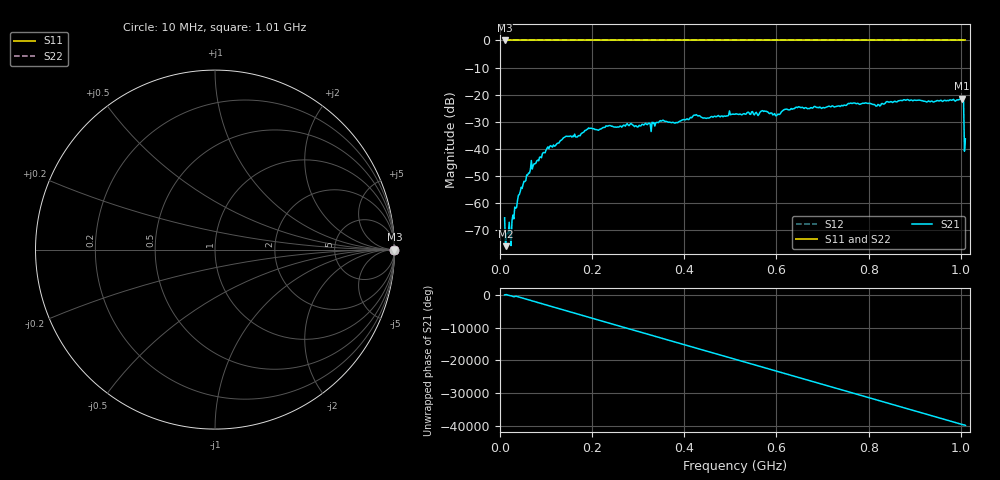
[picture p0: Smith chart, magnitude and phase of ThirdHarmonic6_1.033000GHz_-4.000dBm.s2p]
! 8/16/2025 8:50:51 AM
! C:\ANRITSUVNA\TEMP\TEMP.S2P
! CHANNEL.1
! TR.MEASUREMENT
! RAW.DATA
! RF.CORRECTION.OFF
! AVERAGING.OFF
! IF.BANDWIDTH: 5KHZ
! SWEEPTYPE:  FREQ.SWEEP(Linear)
! Reference Plane Port Info
! PORT:  PORT1  PORT2
! DISTANCE:  0  m  0  m
! TIME:  0  s  0  s
! PHASE.OFFSET:  0  deg.  0  deg.
! LOSS:  0  dB  0  dB
! REF.LOSS:  0  dB  0  dB
! REF.FREQ:  0  Hz  0  Hz
! Power Info
! POWER:  -20  dBm  -20  dBm
! EFF.POWER:  -20  dBm  -20  dBm
! SOURCE.ATTEN:  0  dB  0  dB
! TEST.ATTEN:  0  dB  0  dB
# GHZ S RI R 50.0
! FREQ.GHZ  S11RE  S11IM  S21RE  S21IM  S12RE  S12IM  S22RE  S22IM
!; PortSelection: Port_12
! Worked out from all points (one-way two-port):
!   501 points, 10 MHz to 1.01 GHz, reference 50 ohm
!   highest |S21| = -21.51 dB at 1.002 GHz (marker M1); lowest = -76.1 dB at 12 MHz (marker M2)
!   lowest |S11| = 0.0 dB at 10 MHz (marker M3)
!   |S11| at or under -10 dB: nowhere
!   |S22| runs from 0.0 to 0.0 dB; largest |S21 - S12| = 1.1
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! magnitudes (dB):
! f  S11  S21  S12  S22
! 10 MHz  0.0  -65.6  0.0  0.0
! 12 MHz  0.0  -76.1  0.0  0.0
! 20 MHz  0.0  -67.2  0.0  0.0
! 26 MHz  0.0  -66.8  0.0  0.0
! 30 MHz  0.0  -66.0  0.0  0.0
! 42 MHz  0.0  -57.0  0.0  0.0
! 70 MHz  0.0  -47.5  0.0  0.0
! 106 MHz  0.0  -40.0  0.0  0.0
! 142 MHz  0.0  -35.6  0.0  0.0
! 178 MHz  0.0  -34.2  0.0  0.0
! 194 MHz  0.0  -32.5  0.0  0.0
! 344 MHz  0.0  -30.4  0.0  0.0
! 382 MHz  0.0  -30.3  0.0  0.0
! 424 MHz  0.0  -27.6  0.0  0.0
! 510 MHz  0.0  -27.3  0.0  0.0
! 572 MHz  0.0  -26.3  0.0  0.0
! 602 MHz  0.0  -27.4  0.0  0.0
! 620 MHz  0.0  -25.4  0.0  0.0
! 678 MHz  0.0  -25.1  0.0  0.0
! 844 MHz  0.0  -22.8  0.0  0.0
! 1.002 GHz  0.0  -21.5  0.0  0.0
! 1.01 GHz  0.0  -36.4  0.0  0.0
